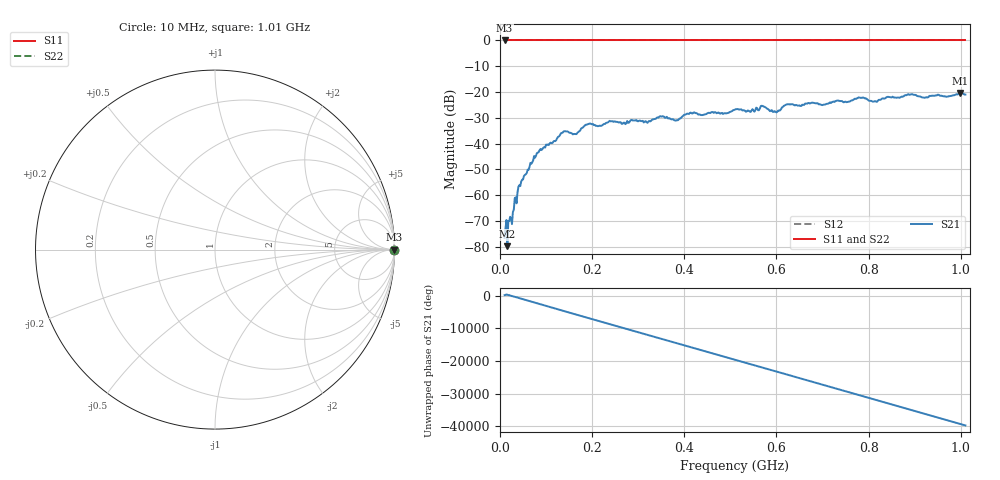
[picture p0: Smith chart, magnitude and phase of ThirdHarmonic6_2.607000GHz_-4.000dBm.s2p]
! 8/17/2025 5:40:52 AM
! C:\ANRITSUVNA\TEMP\TEMP.S2P
! CHANNEL.1
! TR.MEASUREMENT
! RAW.DATA
! RF.CORRECTION.OFF
! AVERAGING.OFF
! IF.BANDWIDTH: 5KHZ
! SWEEPTYPE:  FREQ.SWEEP(Linear)
! Reference Plane Port Info
! PORT:  PORT1  PORT2
! DISTANCE:  0  m  0  m
! TIME:  0  s  0  s
! PHASE.OFFSET:  0  deg.  0  deg.
! LOSS:  0  dB  0  dB
! REF.LOSS:  0  dB  0  dB
! REF.FREQ:  0  Hz  0  Hz
! Power Info
! POWER:  -20  dBm  -20  dBm
! EFF.POWER:  -20  dBm  -20  dBm
! SOURCE.ATTEN:  0  dB  0  dB
! TEST.ATTEN:  0  dB  0  dB
# GHZ S RI R 50.0
! FREQ.GHZ  S11RE  S11IM  S21RE  S21IM  S12RE  S12IM  S22RE  S22IM
!; PortSelection: Port_12
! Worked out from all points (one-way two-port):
!   501 points, 10 MHz to 1.01 GHz, reference 50 ohm
!   highest |S21| = -20.32 dB at 998 MHz (marker M1); lowest = -79.8 dB at 16 MHz (marker M2)
!   lowest |S11| = 0.0 dB at 10 MHz (marker M3)
!   |S11| at or under -10 dB: nowhere
!   |S22| runs from 0.0 to 0.0 dB; largest |S21 - S12| = 1.1
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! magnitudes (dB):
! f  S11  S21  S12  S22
! 10 MHz  0.0  -76.6  0.0  0.0
! 12 MHz  0.0  -72.8  0.0  0.0
! 16 MHz  0.0  -79.8  0.0  0.0
! 26 MHz  0.0  -71.2  0.0  0.0
! 44 MHz  0.0  -56.5  0.0  0.0
! 84 MHz  0.0  -43.3  0.0  0.0
! 136 MHz  0.0  -35.8  0.0  0.0
! 162 MHz  0.0  -36.3  0.0  0.0
! 178 MHz  0.0  -34.0  0.0  0.0
! 344 MHz  0.0  -29.9  0.0  0.0
! 382 MHz  0.0  -31.1  0.0  0.0
! 410 MHz  0.0  -28.5  0.0  0.0
! 510 MHz  0.0  -26.8  0.0  0.0
! 570 MHz  0.0  -25.4  0.0  0.0
! 598 MHz  0.0  -27.6  0.0  0.0
! 622 MHz  0.0  -24.8  0.0  0.0
! 678 MHz  0.0  -24.1  0.0  0.0
! 782 MHz  0.0  -22.2  0.0  0.0
! 814 MHz  0.0  -23.6  0.0  0.0
! 844 MHz  0.0  -21.9  0.0  0.0
! 998 MHz  0.0  -20.3  0.0  0.0
! 1.01 GHz  0.0  -21.0  0.0  0.0
